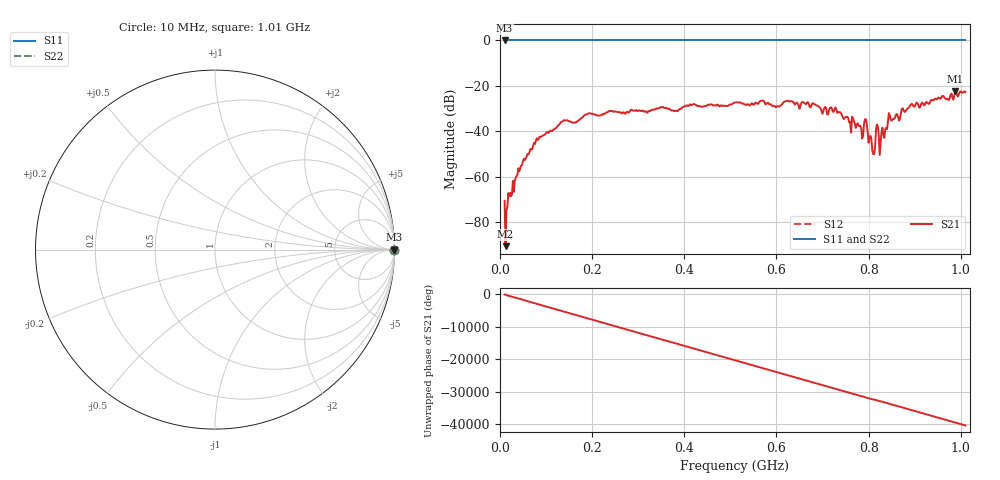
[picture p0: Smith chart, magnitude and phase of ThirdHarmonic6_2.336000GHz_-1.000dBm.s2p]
! 8/17/2025 3:25:13 AM
! C:\ANRITSUVNA\TEMP\TEMP.S2P
! CHANNEL.1
! TR.MEASUREMENT
! RAW.DATA
! RF.CORRECTION.OFF
! AVERAGING.OFF
! IF.BANDWIDTH: 5KHZ
! SWEEPTYPE:  FREQ.SWEEP(Linear)
! Reference Plane Port Info
! PORT:  PORT1  PORT2
! DISTANCE:  0  m  0  m
! TIME:  0  s  0  s
! PHASE.OFFSET:  0  deg.  0  deg.
! LOSS:  0  dB  0  dB
! REF.LOSS:  0  dB  0  dB
! REF.FREQ:  0  Hz  0  Hz
! Power Info
! POWER:  -20  dBm  -20  dBm
! EFF.POWER:  -20  dBm  -20  dBm
! SOURCE.ATTEN:  0  dB  0  dB
! TEST.ATTEN:  0  dB  0  dB
# GHZ S RI R 50.0
! FREQ.GHZ  S11RE  S11IM  S21RE  S21IM  S12RE  S12IM  S22RE  S22IM
!; PortSelection: Port_12
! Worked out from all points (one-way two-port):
!   501 points, 10 MHz to 1.01 GHz, reference 50 ohm
!   highest |S21| = -22.23 dB at 988 MHz (marker M1); lowest = -90.7 dB at 12 MHz (marker M2)
!   lowest |S11| = 0.0 dB at 10 MHz (marker M3)
!   |S11| at or under -10 dB: nowhere
!   |S22| runs from 0.0 to 0.0 dB; largest |S21 - S12| = 1.1
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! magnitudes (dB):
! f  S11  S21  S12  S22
! 10 MHz  0.0  -70.7  0.0  0.0
! 12 MHz  0.0  -90.7  0.0  0.0
! 42 MHz  0.0  -57.6  0.0  0.0
! 82 MHz  0.0  -43.9  0.0  0.0
! 136 MHz  0.0  -35.7  0.0  0.0
! 178 MHz  0.0  -34.1  0.0  0.0
! 344 MHz  0.0  -30.0  0.0  0.0
! 382 MHz  0.0  -30.9  0.0  0.0
! 416 MHz  0.0  -28.5  0.0  0.0
! 510 MHz  0.0  -27.4  0.0  0.0
! 678 MHz  0.0  -27.7  0.0  0.0
! 730 MHz  0.0  -30.5  0.0  0.0
! 784 MHz  0.0  -38.9  0.0  0.0
! 794 MHz  0.0  -34.8  0.0  0.0
! 810 MHz  0.0  -50.1  0.0  0.0
! 818 MHz  0.0  -37.1  0.0  0.0
! 828 MHz  0.0  -40.3  0.0  0.0
! 844 MHz  0.0  -32.0  0.0  0.0
! 866 MHz  0.0  -35.3  0.0  0.0
! 892 MHz  0.0  -28.2  0.0  0.0
! 988 MHz  0.0  -22.2  0.0  0.0
! 1.01 GHz  0.0  -22.7  0.0  0.0
